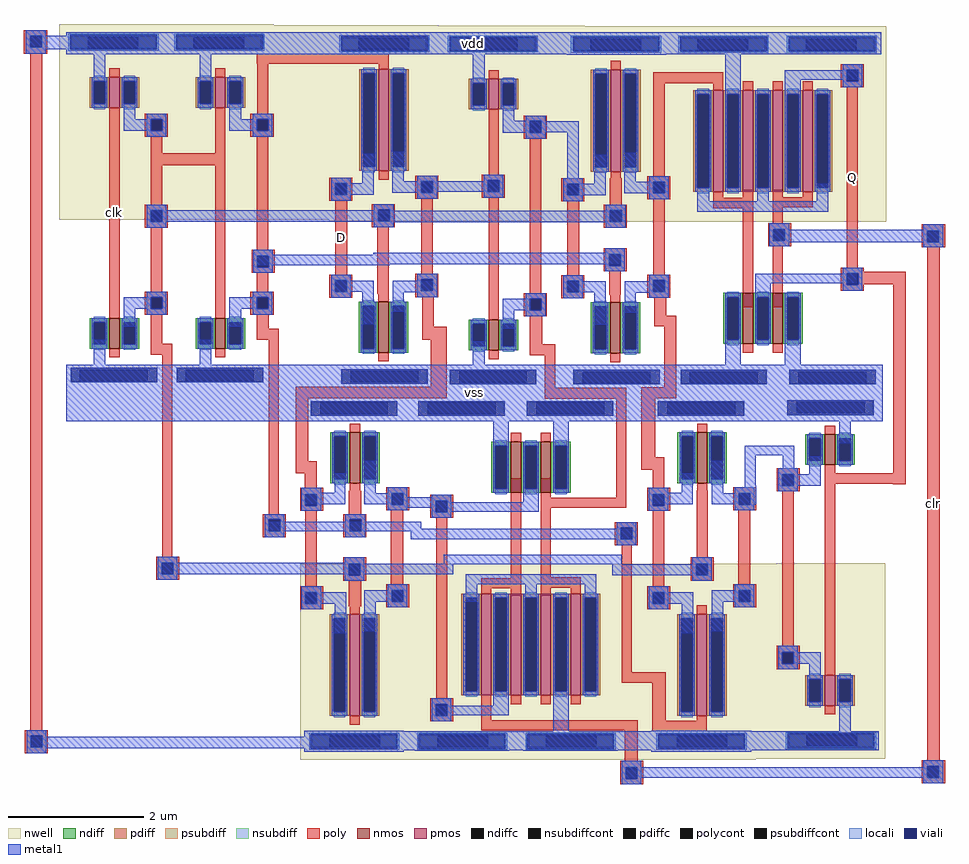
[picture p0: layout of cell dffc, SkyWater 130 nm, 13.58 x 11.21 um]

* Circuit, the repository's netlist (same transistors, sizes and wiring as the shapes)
* NGSPICE file created from dffc.ext - technology: sky130A

.subckt sky130_fd_pr__pfet_01v8_ZB94FE a_15_n150# a_n15_n176# a_n73_n150# w_n109_n212#
X0 a_15_n150# a_n15_n176# a_n73_n150# w_n109_n212# sky130_fd_pr__pfet_01v8 ad=0.435 pd=3.58 as=0.435 ps=3.58 w=1.5 l=0.15
.ends

.subckt sky130_fd_pr__nfet_01v8_NDWVGB a_15_n75# a_n15_n101# a_n73_n75# VSUBS
X0 a_15_n75# a_n15_n101# a_n73_n75# VSUBS sky130_fd_pr__nfet_01v8 ad=0.218 pd=2.08 as=0.218 ps=2.08 w=0.75 l=0.15
.ends

.subckt tg vdd vout a_16_278# sky130_fd_pr__nfet_01v8_NDWVGB_0/a_n15_n101# sky130_fd_pr__pfet_01v8_ZB94FE_0/a_n15_n176#
+ vss
Xsky130_fd_pr__pfet_01v8_ZB94FE_0 vout sky130_fd_pr__pfet_01v8_ZB94FE_0/a_n15_n176#
+ a_16_278# vdd sky130_fd_pr__pfet_01v8_ZB94FE
Xsky130_fd_pr__nfet_01v8_NDWVGB_0 vout sky130_fd_pr__nfet_01v8_NDWVGB_0/a_n15_n101#
+ a_16_278# vss sky130_fd_pr__nfet_01v8_NDWVGB
.ends

.subckt sky130_fd_pr__nfet_01v8_SKHSUU a_15_n45# a_n15_n71# a_n73_n45# VSUBS
X0 a_15_n45# a_n15_n71# a_n73_n45# VSUBS sky130_fd_pr__nfet_01v8 ad=0.131 pd=1.48 as=0.131 ps=1.48 w=0.45 l=0.15
.ends

.subckt sky130_fd_pr__pfet_01v8_52DS5B a_15_n45# a_n15_n71# w_n109_n107# a_n73_n45#
X0 a_15_n45# a_n15_n71# a_n73_n45# w_n109_n107# sky130_fd_pr__pfet_01v8 ad=0.131 pd=1.48 as=0.131 ps=1.48 w=0.45 l=0.15
.ends

.subckt inverter vdd a_744_746# in vss
Xsky130_fd_pr__nfet_01v8_SKHSUU_0 a_744_746# in vss vss sky130_fd_pr__nfet_01v8_SKHSUU
Xsky130_fd_pr__pfet_01v8_52DS5B_0 a_744_746# in vdd vdd sky130_fd_pr__pfet_01v8_52DS5B
.ends

.subckt sky130_fd_pr__nfet_01v8_NDWVGB#0 a_15_n75# a_n15_n101# a_n73_n75# VSUBS
X0 a_15_n75# a_n15_n101# a_n73_n75# VSUBS sky130_fd_pr__nfet_01v8 ad=0.218 pd=2.08 as=0.218 ps=2.08 w=0.75 l=0.15
.ends

.subckt sky130_fd_pr__pfet_01v8_52K3FE a_15_n150# a_n15_n176# a_n73_n150# w_n109_n212#
X0 a_15_n150# a_n15_n176# a_n73_n150# w_n109_n212# sky130_fd_pr__pfet_01v8 ad=0.435 pd=3.58 as=0.435 ps=3.58 w=1.5 l=0.15
.ends

.subckt nor B A m1_28_1004# a_524_320# VSUBS
Xsky130_fd_pr__nfet_01v8_NDWVGB_1 a_524_320# B VSUBS VSUBS sky130_fd_pr__nfet_01v8_NDWVGB#0
Xsky130_fd_pr__nfet_01v8_NDWVGB_2 VSUBS A a_524_320# VSUBS sky130_fd_pr__nfet_01v8_NDWVGB#0
Xsky130_fd_pr__pfet_01v8_52K3FE_0 m1_84_536# A a_524_320# m1_28_1004# sky130_fd_pr__pfet_01v8_52K3FE
Xsky130_fd_pr__pfet_01v8_52K3FE_1 a_524_320# A m1_84_536# m1_28_1004# sky130_fd_pr__pfet_01v8_52K3FE
Xsky130_fd_pr__pfet_01v8_52K3FE_2 m1_84_536# B m1_28_1004# m1_28_1004# sky130_fd_pr__pfet_01v8_52K3FE
Xsky130_fd_pr__pfet_01v8_52K3FE_3 m1_28_1004# B m1_84_536# m1_28_1004# sky130_fd_pr__pfet_01v8_52K3FE
.ends

dffc
Xtg_0 vdd nor_0/B nor_1/B a_826_268# inverter_2/in vss tg
Xtg_1 vdd tg_3/vout tg_1/a_16_278# inverter_2/in a_826_268# vss tg
Xinverter_0 vdd nor_1/B tg_3/vout vss inverter
Xtg_2 vdd nor_0/B m1_1226_n350# inverter_2/in a_826_268# vss tg
Xinverter_1 vdd m1_1226_n350# inverter_1/in vss inverter
Xtg_3 vdd tg_3/vout m1_184_n360# a_826_268# inverter_2/in vss tg
Xinverter_2 vdd a_826_268# inverter_2/in vss inverter
Xinverter_3 vdd inverter_2/in inverter_3/in vss inverter
Xnor_0 nor_0/B nor_1/A vdd inverter_1/in vss nor
Xnor_1 nor_1/B nor_1/A vdd m1_184_n360# vss nor
.ends

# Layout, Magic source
magic
tech sky130A
magscale 1 2
<< nwell >>
rect -174 490 112 1064
rect 612 484 754 1062
rect 232 -1100 1330 -524
rect 232 -1102 1126 -1100
<< poly >>
rect -882 -1068 -846 1028
rect -214 950 176 980
rect -212 752 -180 950
rect 956 892 1162 924
rect -526 650 -306 686
rect 828 510 862 612
rect 956 588 990 892
rect 142 272 176 504
rect -526 124 -492 246
rect -214 168 -178 264
rect 274 174 308 314
rect 826 268 860 362
rect -214 136 -148 168
rect 274 136 346 174
rect -526 92 -462 124
rect -492 -564 -462 92
rect -178 -428 -148 136
rect 300 -2 346 136
rect 592 122 628 256
rect 958 206 994 312
rect 1526 300 1700 336
rect 958 176 1024 206
rect 592 90 666 122
rect -98 -36 346 -2
rect 636 -6 666 90
rect 988 -4 1024 176
rect -98 -222 -62 -36
rect 636 -38 876 -6
rect -98 -258 -36 -222
rect -72 -352 -36 -258
rect 58 -426 94 -310
rect 846 -330 876 -38
rect 920 -36 1024 -4
rect 920 -210 962 -36
rect 920 -248 988 -210
rect 654 -332 876 -330
rect 624 -360 876 -332
rect 954 -352 988 -248
rect 1664 -258 1700 300
rect 1462 -288 1700 -258
rect 1664 -290 1700 -288
rect 58 -650 94 -526
rect 862 -844 892 -418
rect 1084 -558 1116 -310
rect 862 -876 992 -844
rect 448 -986 478 -909
rect 448 -1016 910 -986
rect 952 -988 992 -876
rect 952 -1016 1114 -988
rect 872 -1130 910 -1016
rect 956 -1018 1114 -1016
rect 1764 -1164 1800 460
<< metal1 >>
rect -776 1032 1628 1042
rect -884 992 1628 1032
rect -776 978 1628 992
rect 592 748 736 780
rect 272 572 502 604
rect 702 562 736 748
rect -526 516 146 518
rect -526 484 874 516
rect 146 482 874 484
rect 1310 424 1800 460
rect 130 386 872 392
rect -214 358 872 386
rect -214 356 178 358
rect -776 -104 1632 62
rect 1226 -204 1372 -176
rect 1226 -294 1258 -204
rect 1338 -294 1372 -204
rect 184 -344 348 -328
rect 184 -360 346 -344
rect 1226 -348 1260 -294
rect 1226 -350 1258 -348
rect -178 -428 48 -400
rect 60 -422 272 -400
rect 60 -426 894 -422
rect 60 -428 896 -426
rect 240 -452 896 -428
rect -494 -524 92 -522
rect 338 -524 862 -498
rect -494 -526 862 -524
rect -494 -556 366 -526
rect 834 -558 1118 -526
rect -74 -1034 1620 -1018
rect -880 -1068 1620 -1034
rect -74 -1074 1620 -1068
rect 872 -1156 1800 -1124
use inverter  inverter_0 ../inverter
transform 1 0 -152 0 1 -523
box 474 522 794 1585
use inverter  inverter_1 ../inverter
transform -1 0 2114 0 -1 485
box 474 522 794 1585
use inverter  inverter_2 ../inverter
transform 1 0 -958 0 1 -518
box 474 522 794 1585
use inverter  inverter_3 ../inverter
transform 1 0 -1270 0 1 -518
box 474 522 794 1585
use nor  nor_0 ../nor
transform 1 0 1002 0 1 -22
box 0 18 640 1083
use nor  nor_1 ../nor
transform -1 0 872 0 -1 -19
box 0 18 640 1083
use tg  tg_0 ../tg
transform 1 0 686 0 1 -2
box -2 0 320 1063
use tg  tg_1 ../tg
transform 1 0 2 0 1 0
box -2 0 320 1063
use tg  tg_2 ../tg
transform -1 0 1258 0 -1 -39
box -2 0 320 1063
use tg  tg_3 ../tg
transform -1 0 234 0 -1 -39
box -2 0 320 1063
use via_m1_p  via_m1_p_0 ../via_m1_p
transform -1 0 -442 0 -1 -504
box 0 0 68 68
use via_m1_p  via_m1_p_1 ../via_m1_p
transform -1 0 926 0 -1 -1106
box 0 0 68 68
use via_m1_p  via_m1_p_2 ../via_m1_p
transform 1 0 450 0 1 554
box 0 0 68 68
use via_m1_p  via_m1_p_3 ../via_m1_p
transform 1 0 810 0 1 466
box 0 0 68 68
use via_m1_p  via_m1_p_4 ../via_m1_p
transform -1 0 878 0 -1 406
box 0 0 68 68
use via_m1_p  via_m1_p_6 ../via_m1_p
transform 1 0 126 0 1 468
box 0 0 68 68
use via_m1_p  via_m1_p_7 ../via_m1_p
transform -1 0 -160 0 -1 402
box 0 0 68 68
use via_m1_p  via_m1_p_8 ../via_m1_p
transform 1 0 -196 0 1 -446
box 0 0 68 68
use via_m1_p  via_m1_p_9 ../via_m1_p
transform 1 0 842 0 1 -470
box 0 0 68 68
use via_m1_p  via_m1_p_10
transform -1 0 110 0 -1 -506
box 0 0 68 68
use via_m1_p  via_m1_p_11
transform -1 0 1134 0 -1 -506
box 0 0 68 68
use via_m1_p  via_m1_p_12
transform 1 0 42 0 1 -446
box 0 0 68 68
use via_m1_p  via_m1_p_13
transform -1 0 1816 0 -1 476
box 0 0 68 68
use via_m1_p  via_m1_p_14
transform -1 0 1816 0 -1 -1104
box 0 0 68 68
use via_m1_p  via_m1_p_15
transform -1 0 1362 0 -1 480
box 0 0 68 68
use via_m1_p  via_m1_p_16
transform 1 0 -900 0 1 980
box 0 0 68 68
use via_m1_p  via_m1_p_17
transform 1 0 -898 0 1 -1084
box 0 0 68 68
use via_m1_p  via_m1_p_18
transform 1 0 -544 0 1 466
box 0 0 68 68
<< labels >>
rlabel space 18 260 54 614 1 D
rlabel space -648 200 -618 820 1 clk
rlabel space 1764 -1172 1800 476 1 clr
rlabel space 1526 280 1558 948 1 Q
rlabel metal1 -776 978 1628 1042 1 vdd
rlabel metal1 -776 -104 1632 62 1 vss
<< end >>

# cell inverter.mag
magic
tech sky130A
magscale 1 2
<< poly >>
rect 622 728 652 1320
rect 744 746 778 1304
<< metal1 >>
rect 494 1504 776 1560
rect 576 1424 610 1504
rect 664 1304 698 1346
rect 664 1270 746 1304
rect 664 746 746 780
rect 664 692 698 746
rect 576 578 610 654
rect 494 522 776 578
use grid  grid_0 ../grid
transform 1 0 535 0 1 532
box -61 -10 259 1053
use sky130_fd_pr__nfet_01v8_SKHSUU  sky130_fd_pr__nfet_01v8_SKHSUU_0
transform 1 0 637 0 1 673
box -73 -71 73 71
use sky130_fd_pr__pfet_01v8_52DS5B  sky130_fd_pr__pfet_01v8_52DS5B_0
transform 1 0 637 0 1 1383
box -109 -107 109 107
use via_m1_p  via_m1_p_0 ../via_m1_p
transform 1 0 726 0 1 728
box 0 0 68 68
use via_m1_p  via_m1_p_2
transform 1 0 726 0 1 1252
box 0 0 68 68
<< labels >>
rlabel poly 622 728 652 1320 1 in
rlabel metal1 494 1504 776 1560 1 vdd
rlabel metal1 494 522 776 578 1 vss
rlabel space 744 728 778 1320 1 out
<< end >>

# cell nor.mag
magic
tech sky130A
magscale 1 2
<< poly >>
rect 218 576 248 600
rect 130 546 248 576
rect 218 254 248 546
rect 306 578 336 600
rect 306 548 424 578
rect 306 254 336 548
rect 524 320 556 954
<< metal1 >>
rect 28 1008 184 1056
rect 212 1008 624 1054
rect 28 1004 624 1008
rect 166 1002 624 1004
rect 166 886 212 1002
rect 342 924 556 952
rect 342 890 388 924
rect 84 566 118 600
rect 260 566 294 594
rect 436 566 470 618
rect 84 536 470 566
rect 254 324 554 352
rect 254 296 300 324
rect 166 74 212 148
rect 342 74 388 148
rect 22 54 620 74
rect 22 50 350 54
rect 22 18 174 50
rect 208 18 350 50
rect 384 18 620 54
use grid  grid_0 ../grid
transform 1 0 381 0 1 30
box -61 -10 259 1053
use grid  grid_1 ../grid
transform 1 0 61 0 1 30
box -61 -10 259 1053
use sky130_fd_pr__nfet_01v8_NDWVGB  sky130_fd_pr__nfet_01v8_NDWVGB_1
transform 1 0 233 0 1 221
box -73 -101 73 101
use sky130_fd_pr__nfet_01v8_NDWVGB  sky130_fd_pr__nfet_01v8_NDWVGB_2
transform 1 0 321 0 1 221
box -73 -101 73 101
use sky130_fd_pr__pfet_01v8_52K3FE  sky130_fd_pr__pfet_01v8_52K3FE_0
transform 1 0 409 0 1 744
box -109 -212 109 212
use sky130_fd_pr__pfet_01v8_52K3FE  sky130_fd_pr__pfet_01v8_52K3FE_1
transform 1 0 321 0 1 744
box -109 -212 109 212
use sky130_fd_pr__pfet_01v8_52K3FE  sky130_fd_pr__pfet_01v8_52K3FE_2
transform 1 0 233 0 1 744
box -109 -212 109 212
use sky130_fd_pr__pfet_01v8_52K3FE  sky130_fd_pr__pfet_01v8_52K3FE_3
transform 1 0 145 0 1 744
box -109 -212 109 212
use via_m1_p  via_m1_p_0 ../via_m1_p
transform 1 0 506 0 1 902
box 0 0 68 68
use via_m1_p  via_m1_p_1 ../via_m1_p
transform 1 0 506 0 1 302
box 0 0 68 68
<< labels >>
rlabel space 22 1002 622 1054 1 vdd
rlabel space 20 18 620 80 1 vss
rlabel poly 218 254 248 600 1 B
rlabel poly 306 254 336 600 1 A
rlabel space 524 302 556 970 1 Z
<< end >>

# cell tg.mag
magic
tech sky130A
magscale 1 2
<< poly >>
rect 16 278 52 598
rect 270 278 304 604
<< metal1 >>
rect 14 978 308 1040
rect 96 598 130 684
rect 16 564 130 598
rect 184 604 218 690
rect 184 570 304 604
rect 16 278 130 310
rect 96 182 130 278
rect 186 276 306 310
rect 186 218 218 276
rect 22 0 302 56
use grid  grid_0 ../grid
transform 1 0 61 0 1 10
box -61 -10 259 1053
use sky130_fd_pr__nfet_01v8_NDWVGB  sky130_fd_pr__nfet_01v8_NDWVGB_0
transform 1 0 158 0 1 173
box -73 -101 73 101
use sky130_fd_pr__pfet_01v8_ZB94FE  sky130_fd_pr__pfet_01v8_ZB94FE_0
transform 1 0 159 0 1 784
box -109 -212 109 212
use via_m1_p  via_m1_p_0 ../via_m1_p
transform 1 0 252 0 1 262
box 0 0 68 68
use via_m1_p  via_m1_p_1 ../via_m1_p
transform 1 0 -2 0 1 546
box 0 0 68 68
use via_m1_p  via_m1_p_2 ../via_m1_p
transform 1 0 252 0 1 552
box 0 0 68 68
use via_m1_p  via_m1_p_3 ../via_m1_p
transform 1 0 -2 0 1 260
box 0 0 68 68
<< labels >>
rlabel space 143 937 173 963 1 enb
rlabel space 143 248 173 274 1 en
rlabel metal1 14 978 308 1040 1 vdd
rlabel metal1 22 0 302 56 1 vss
rlabel poly 270 278 304 604 1 vout
rlabel space 16 260 52 614 1 vin
<< end >>

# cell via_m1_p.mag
magic
tech sky130A
<< poly >>
rect 0 26 34 34
rect 0 9 9 26
rect 26 9 34 26
rect 0 0 34 9
<< polycont >>
rect 9 9 26 26
<< locali >>
rect 3 26 32 34
rect 3 9 9 26
rect 26 9 32 26
rect 3 0 32 9
<< viali >>
rect 9 9 26 26
<< metal1 >>
rect 3 26 32 34
rect 3 9 9 26
rect 26 9 32 26
rect 3 0 32 9
<< end >>

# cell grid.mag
magic
tech sky130A
magscale 1 2
<< nwell >>
rect -61 476 259 1053
<< psubdiff >>
rect -24 0 0 34
rect 200 0 224 34
<< nsubdiff >>
rect -25 1016 223 1017
rect -25 982 24 1016
rect 171 982 223 1016
rect -25 981 223 982
<< psubdiffcont >>
rect 0 0 200 34
<< nsubdiffcont >>
rect 24 982 171 1016
<< locali >>
rect -34 1021 232 1024
rect -34 978 -28 1021
rect 227 978 232 1021
rect -34 974 232 978
<< viali >>
rect -28 1016 227 1021
rect -28 982 24 1016
rect 24 982 171 1016
rect 171 982 227 1016
rect -28 978 227 982
rect -27 34 228 39
rect -27 0 0 34
rect 0 0 200 34
rect 200 0 228 34
rect -27 -4 228 0
<< metal1 >>
rect -40 1021 239 1027
rect -40 978 -28 1021
rect 227 978 239 1021
rect -40 972 239 978
rect -39 39 240 45
rect -39 -4 -27 39
rect 228 -4 240 39
rect -39 -10 240 -4
<< end >>

# cell sky130_fd_pr__nfet_01v8_NDWVGB: kit device sky130_fd_pr__nfet_01v8, w 0.75 l 0.150 m 1 nf 1 diffcov 100 polycov 100 guard 0 glc 0 grc 0 gtc 0 gbc 0 tbcov 100 rlcov 100 topc 0 botc 0 poverlap 0 doverlap 1 lmin 0.15 wmin 0.42 compatible {sky130_fd_pr__nfet_01v8 sky130_fd_pr__nfet_01v8_lvt sky130_fd_bs_flash__special_sonosfet_star sky130_fd_pr__nfet_g5v0d10v5 sky130_fd_pr__nfet_05v0_nvt sky130_fd_pr__nfet_03v3_nvt} full_metal 0 viasrc 100 viadrn 100 viagate 100 viagb 0 viagr 0 viagl 0 viagt 0

# cell sky130_fd_pr__pfet_01v8_ZB94FE: kit device sky130_fd_pr__pfet_01v8, w 1.5 l 0.15 m 1 nf 1 diffcov 100 polycov 100 guard 0 glc 0 grc 0 gtc 1 gbc 0 tbcov 100 rlcov 100 topc 0 botc 0 poverlap 0 doverlap 1 lmin 0.15 wmin 0.42 compatible {sky130_fd_pr__pfet_01v8 sky130_fd_pr__pfet_01v8_lvt sky130_fd_pr__pfet_01v8_hvt sky130_fd_pr__pfet_g5v0d10v5} full_metal 0 viasrc 100 viadrn 100 viagate 100 viagb 0 viagr 0 viagl 0 viagt 0

# cell sky130_fd_pr__pfet_01v8_52K3FE: kit device sky130_fd_pr__pfet_01v8, w 1.5 l 0.15 m 1 nf 1 diffcov 100 polycov 100 guard 0 glc 0 grc 0 gtc 0 gbc 0 tbcov 100 rlcov 100 topc 0 botc 0 poverlap 0 doverlap 1 lmin 0.15 wmin 0.42 compatible {sky130_fd_pr__pfet_01v8 sky130_fd_pr__pfet_01v8_lvt sky130_fd_pr__pfet_01v8_hvt sky130_fd_pr__pfet_g5v0d10v5} full_metal 0 viasrc 100 viadrn 100 viagate 100 viagb 0 viagr 0 viagl 0 viagt 0

# cell sky130_fd_pr__nfet_01v8_SKHSUU: kit device sky130_fd_pr__nfet_01v8, w 0.450 l 0.150 m 1 nf 1 diffcov 100 polycov 100 guard 0 glc 0 grc 0 gtc 0 gbc 0 tbcov 100 rlcov 100 topc 0 botc 0 poverlap 0 doverlap 1 lmin 0.15 wmin 0.42 compatible {sky130_fd_pr__nfet_01v8 sky130_fd_pr__nfet_01v8_lvt sky130_fd_bs_flash__special_sonosfet_star sky130_fd_pr__nfet_g5v0d10v5 sky130_fd_pr__nfet_05v0_nvt sky130_fd_pr__nfet_03v3_nvt} full_metal 0 viasrc 100 viadrn 100 viagate 100 viagb 0 viagr 0 viagl 0 viagt 0

# cell sky130_fd_pr__pfet_01v8_52DS5B: kit device sky130_fd_pr__pfet_01v8, w 0.45 l 0.15 m 1 nf 1 diffcov 100 polycov 100 guard 0 glc 0 grc 0 gtc 0 gbc 0 tbcov 100 rlcov 100 topc 0 botc 0 poverlap 0 doverlap 1 lmin 0.15 wmin 0.42 compatible {sky130_fd_pr__pfet_01v8 sky130_fd_pr__pfet_01v8_lvt sky130_fd_pr__pfet_01v8_hvt sky130_fd_pr__pfet_g5v0d10v5} full_metal 0 viasrc 100 viadrn 100 viagate 100 viagb 0 viagr 0 viagl 0 viagt 0
